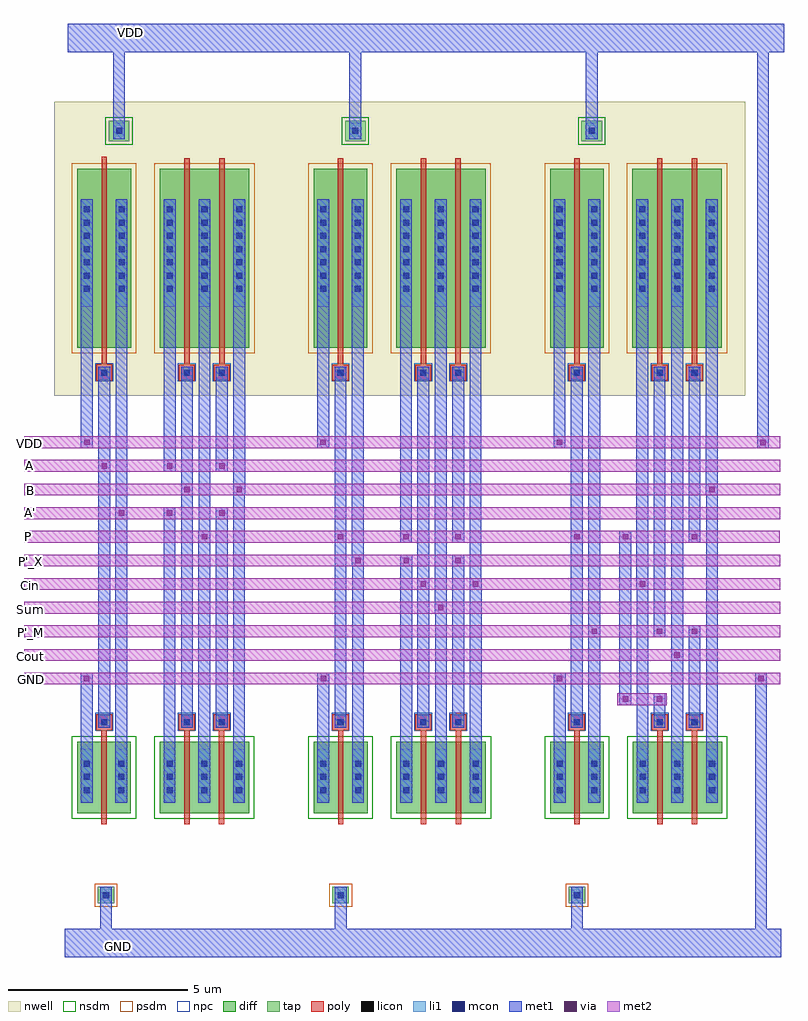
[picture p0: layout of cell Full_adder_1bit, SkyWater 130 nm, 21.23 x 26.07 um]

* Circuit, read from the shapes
.subckt Full_adder_1bit A A' B Cin Cout GND P P'_M P'_X Sum VDD
XM1 A' A GND GND sky130_fd_pr__nfet_01v8 w=2 l=0.15
XM2 P B A' GND sky130_fd_pr__nfet_01v8 w=2 l=0.15
XM3 B A' P GND sky130_fd_pr__nfet_01v8 w=2 l=0.15
XM4 P'_X P GND GND sky130_fd_pr__nfet_01v8 w=2 l=0.15
XM5 Sum Cin P'_X GND sky130_fd_pr__nfet_01v8 w=2 l=0.15
XM6 Cin P'_X Sum GND sky130_fd_pr__nfet_01v8 w=2 l=0.15
XM7 P'_M P GND GND sky130_fd_pr__nfet_01v8 w=2 l=0.15
XM8 Cout P Cin GND sky130_fd_pr__nfet_01v8 w=2 l=0.15
XM9 B P'_M Cout GND sky130_fd_pr__nfet_01v8 w=2 l=0.15
XM10 A' A VDD VDD sky130_fd_pr__pfet_01v8 w=5 l=0.15
XM11 P B A VDD sky130_fd_pr__pfet_01v8 w=5 l=0.15
XM12 B A P VDD sky130_fd_pr__pfet_01v8 w=5 l=0.15
XM13 P'_X P VDD VDD sky130_fd_pr__pfet_01v8 w=5 l=0.15
XM14 Sum Cin P VDD sky130_fd_pr__pfet_01v8 w=5 l=0.15
XM15 Cin P Sum VDD sky130_fd_pr__pfet_01v8 w=5 l=0.15
XM16 P'_M P VDD VDD sky130_fd_pr__pfet_01v8 w=5 l=0.15
XM17 Cout P'_M Cin VDD sky130_fd_pr__pfet_01v8 w=5 l=0.15
XM18 B P Cout VDD sky130_fd_pr__pfet_01v8 w=5 l=0.15
.ends

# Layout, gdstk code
import gdstk
lib = gdstk.Library(unit=1e-6, precision=5e-09)
def R(c, l, rs):  # rectangles x0, y0, x1, y1
    for r in rs: c.add(gdstk.rectangle(r[:2], r[2:], *l))
def A(c, l, x, y, w, h, nx, ny, dx, dy):  # array of equal rectangles
    R(c, l, [(x+i*dx, y+j*dy, x+i*dx+w, y+j*dy+h) for i in range(nx) for j in range(ny)])
nwell = (64, 20)
diff = (65, 20)
tap = (65, 44)
poly = (66, 20)
licon = (66, 44)
li1 = (67, 20)
mcon = (67, 44)
met1 = (68, 20)
via = (68, 44)
met2 = (69, 20)
nsdm = (93, 44)
psdm = (94, 20)
npc = (95, 20)

full_adder_1bit = lib.new_cell('Full_adder_1bit')
R(full_adder_1bit, nwell, [(10.58,-10.4,29.88,-2.185)])
A(full_adder_1bit, diff, 11.23, -9.06, 1.5, 5, 3, 1, 6.6, 0)
A(full_adder_1bit, diff, 13.53, -9.055, 2.5, 5, 3, 1, 6.6, 0)
R(full_adder_1bit, diff, [(11.225,-22.06,12.725,-20.06), (13.525,-22.06,16.025,-20.06), (17.835,-22.06,19.335,-20.06), (20.135,-22.06,22.635,-20.06), (24.435,-22.06,25.935,-20.06), (26.735,-22.06,29.235,-20.06)])
A(full_adder_1bit, tap, 12.105, -3.295, 0.58, 0.585, 3, 1, 6.6, 0)
R(full_adder_1bit, tap, [(11.8,-24.575,12.26,-24.115), (18.355,-24.575,18.815,-24.115), (24.955,-24.575,25.415,-24.115)])
R(full_adder_1bit, poly, [(11.9,-22.36,12.05,-19.285), (14.215,-22.36,14.365,-19.285), (15.185,-22.36,15.335,-19.285), (18.51,-22.36,18.66,-19.285), (20.825,-22.36,20.975,-19.285), (21.795,-22.36,21.945,-19.255), (25.11,-22.36,25.26,-19.285), (27.425,-22.36,27.575,-19.285), (28.395,-22.36,28.545,-19.285), (11.755,-19.74,12.205,-19.285), (14.065,-19.74,14.515,-19.285), (15.04,-19.74,15.49,-19.285), (18.355,-19.74,18.805,-19.285), (20.665,-19.74,21.115,-19.285), (21.64,-19.74,22.09,-19.285), (24.955,-19.74,25.405,-19.285), (27.265,-19.74,27.715,-19.285), (28.24,-19.74,28.69,-19.285), (14.065,-9.98,14.515,-9.525), (14.22,-9.98,14.37,-3.76), (15.04,-9.98,15.49,-9.525), (15.19,-9.98,15.34,-3.76), (18.355,-9.98,18.805,-9.525), (18.505,-9.98,18.655,-3.76), (20.665,-9.98,21.115,-9.525), (20.82,-9.98,20.97,-3.76), (21.64,-9.98,22.09,-9.525), (21.79,-9.98,21.94,-3.76), (24.955,-9.98,25.405,-9.525), (25.105,-9.98,25.255,-3.76), (27.265,-9.98,27.715,-9.525), (27.42,-9.98,27.57,-3.76), (28.24,-9.98,28.69,-9.525), (28.39,-9.98,28.54,-3.76), (11.755,-9.975,12.205,-9.52), (11.905,-9.935,12.055,-3.715)])
A(full_adder_1bit, licon, 11.405, -21.495, 0.17, 0.17, 1, 3, 0, 0.37)
A(full_adder_1bit, licon, 12.375, -21.495, 0.17, 0.17, 1, 3, 0, 0.37)
A(full_adder_1bit, licon, 13.72, -21.495, 0.17, 0.17, 3, 3, 0.97, 0.37)
A(full_adder_1bit, licon, 18.015, -21.495, 0.17, 0.17, 1, 3, 0, 0.37)
A(full_adder_1bit, licon, 18.985, -21.495, 0.17, 0.17, 1, 3, 0, 0.37)
A(full_adder_1bit, licon, 20.33, -21.495, 0.17, 0.17, 3, 3, 0.97, 0.37)
A(full_adder_1bit, licon, 24.615, -21.495, 0.17, 0.17, 1, 3, 0, 0.37)
A(full_adder_1bit, licon, 25.585, -21.495, 0.17, 0.17, 1, 3, 0, 0.37)
A(full_adder_1bit, licon, 26.93, -21.495, 0.17, 0.17, 3, 3, 0.97, 0.37)
A(full_adder_1bit, licon, 11.41, -6.015, 0.17, 0.17, 1, 3, 0, 0.37)
A(full_adder_1bit, licon, 18.01, -6.015, 0.17, 0.17, 1, 3, 0, 0.37)
A(full_adder_1bit, licon, 24.61, -6.015, 0.17, 0.17, 1, 3, 0, 0.37)
A(full_adder_1bit, licon, 13.725, -5.645, 0.17, 0.17, 3, 2, 0.97, 0.37)
A(full_adder_1bit, licon, 20.325, -5.645, 0.17, 0.17, 3, 2, 0.97, 0.37)
A(full_adder_1bit, licon, 26.925, -5.645, 0.17, 0.17, 3, 2, 0.97, 0.37)
A(full_adder_1bit, licon, 12.31, -3.085, 0.17, 0.17, 3, 1, 6.6, 0)
R(full_adder_1bit, licon, [(11.945,-24.43,12.115,-24.26), (18.5,-24.43,18.67,-24.26), (25.1,-24.43,25.27,-24.26), (11.895,-19.595,12.065,-19.425), (11.895,-19.595,12.065,-19.425), (11.895,-19.595,12.065,-19.425), (14.205,-19.595,14.375,-19.425), (14.205,-19.595,14.375,-19.425), (14.205,-19.595,14.375,-19.425), (15.18,-19.595,15.35,-19.425), (15.18,-19.595,15.35,-19.425), (15.18,-19.595,15.35,-19.425), (18.495,-19.595,18.665,-19.425), (18.495,-19.595,18.665,-19.425), (18.495,-19.595,18.665,-19.425), (20.805,-19.595,20.975,-19.425), (20.805,-19.595,20.975,-19.425), (20.805,-19.595,20.975,-19.425), (21.78,-19.595,21.95,-19.425), (21.78,-19.595,21.95,-19.425), (21.78,-19.595,21.95,-19.425), (25.095,-19.595,25.265,-19.425), (25.095,-19.595,25.265,-19.425), (25.095,-19.595,25.265,-19.425), (27.405,-19.595,27.575,-19.425), (27.405,-19.595,27.575,-19.425), (27.405,-19.595,27.575,-19.425), (28.38,-19.595,28.55,-19.425), (28.38,-19.595,28.55,-19.425), (28.38,-19.595,28.55,-19.425), (11.895,-9.835,12.065,-9.665), (14.205,-9.835,14.375,-9.665), (14.205,-9.835,14.375,-9.665), (14.205,-9.835,14.375,-9.665), (15.18,-9.835,15.35,-9.665), (15.18,-9.835,15.35,-9.665), (15.18,-9.835,15.35,-9.665), (18.495,-9.835,18.665,-9.665), (18.495,-9.835,18.665,-9.665), (18.495,-9.835,18.665,-9.665), (20.805,-9.835,20.975,-9.665), (20.805,-9.835,20.975,-9.665), (20.805,-9.835,20.975,-9.665), (21.78,-9.835,21.95,-9.665), (21.78,-9.835,21.95,-9.665), (21.78,-9.835,21.95,-9.665), (25.095,-9.835,25.265,-9.665), (25.095,-9.835,25.265,-9.665), (25.095,-9.835,25.265,-9.665), (27.405,-9.835,27.575,-9.665), (27.405,-9.835,27.575,-9.665), (27.405,-9.835,27.575,-9.665), (28.38,-9.835,28.55,-9.665), (28.38,-9.835,28.55,-9.665), (28.38,-9.835,28.55,-9.665), (11.41,-7.495,11.58,-7.325), (11.41,-7.495,11.58,-7.325), (11.41,-7.495,11.58,-7.325), (12.38,-7.495,12.55,-7.325), (13.725,-7.495,13.895,-7.325), (13.725,-7.495,13.895,-7.325), (13.725,-7.495,13.895,-7.325), (14.695,-7.495,14.865,-7.325), (14.695,-7.495,14.865,-7.325), (14.695,-7.495,14.865,-7.325), (15.665,-7.495,15.835,-7.325), (15.665,-7.495,15.835,-7.325), (15.665,-7.495,15.835,-7.325), (18.01,-7.495,18.18,-7.325), (18.01,-7.495,18.18,-7.325), (18.01,-7.495,18.18,-7.325), (18.98,-7.495,19.15,-7.325), (20.325,-7.495,20.495,-7.325), (20.325,-7.495,20.495,-7.325), (20.325,-7.495,20.495,-7.325), (21.295,-7.495,21.465,-7.325), (21.295,-7.495,21.465,-7.325), (21.295,-7.495,21.465,-7.325), (22.265,-7.495,22.435,-7.325), (22.265,-7.495,22.435,-7.325), (22.265,-7.495,22.435,-7.325), (24.61,-7.495,24.78,-7.325), (24.61,-7.495,24.78,-7.325), (24.61,-7.495,24.78,-7.325), (25.58,-7.495,25.75,-7.325), (26.925,-7.495,27.095,-7.325), (26.925,-7.495,27.095,-7.325), (26.925,-7.495,27.095,-7.325), (27.895,-7.495,28.065,-7.325), (27.895,-7.495,28.065,-7.325), (27.895,-7.495,28.065,-7.325), (28.865,-7.495,29.035,-7.325), (28.865,-7.495,29.035,-7.325), (28.865,-7.495,29.035,-7.325), (11.41,-7.125,11.58,-6.955), (11.41,-7.125,11.58,-6.955), (12.38,-7.125,12.55,-6.955), (12.38,-7.125,12.55,-6.955), (12.38,-7.125,12.55,-6.955), (13.725,-7.125,13.895,-6.955), (13.725,-7.125,13.895,-6.955), (14.695,-7.125,14.865,-6.955), (14.695,-7.125,14.865,-6.955), (15.665,-7.125,15.835,-6.955), (15.665,-7.125,15.835,-6.955), (18.01,-7.125,18.18,-6.955), (18.01,-7.125,18.18,-6.955), (18.98,-7.125,19.15,-6.955), (18.98,-7.125,19.15,-6.955), (18.98,-7.125,19.15,-6.955), (20.325,-7.125,20.495,-6.955), (20.325,-7.125,20.495,-6.955), (21.295,-7.125,21.465,-6.955), (21.295,-7.125,21.465,-6.955), (22.265,-7.125,22.435,-6.955), (22.265,-7.125,22.435,-6.955), (24.61,-7.125,24.78,-6.955), (24.61,-7.125,24.78,-6.955), (25.58,-7.125,25.75,-6.955), (25.58,-7.125,25.75,-6.955), (25.58,-7.125,25.75,-6.955), (26.925,-7.125,27.095,-6.955), (26.925,-7.125,27.095,-6.955), (27.895,-7.125,28.065,-6.955), (27.895,-7.125,28.065,-6.955), (28.865,-7.125,29.035,-6.955), (28.865,-7.125,29.035,-6.955), (11.41,-6.755,11.58,-6.585), (11.41,-6.755,11.58,-6.585), (12.38,-6.755,12.55,-6.585), (12.38,-6.755,12.55,-6.585), (12.38,-6.755,12.55,-6.585), (13.725,-6.755,13.895,-6.585), (13.725,-6.755,13.895,-6.585), (14.695,-6.755,14.865,-6.585), (14.695,-6.755,14.865,-6.585), (15.665,-6.755,15.835,-6.585), (15.665,-6.755,15.835,-6.585), (18.01,-6.755,18.18,-6.585), (18.01,-6.755,18.18,-6.585), (18.98,-6.755,19.15,-6.585), (18.98,-6.755,19.15,-6.585), (18.98,-6.755,19.15,-6.585), (20.325,-6.755,20.495,-6.585), (20.325,-6.755,20.495,-6.585), (21.295,-6.755,21.465,-6.585), (21.295,-6.755,21.465,-6.585), (22.265,-6.755,22.435,-6.585), (22.265,-6.755,22.435,-6.585), (24.61,-6.755,24.78,-6.585), (24.61,-6.755,24.78,-6.585), (25.58,-6.755,25.75,-6.585), (25.58,-6.755,25.75,-6.585), (25.58,-6.755,25.75,-6.585), (26.925,-6.755,27.095,-6.585), (26.925,-6.755,27.095,-6.585), (27.895,-6.755,28.065,-6.585), (27.895,-6.755,28.065,-6.585), (28.865,-6.755,29.035,-6.585), (28.865,-6.755,29.035,-6.585), (11.41,-6.385,11.58,-6.215), (11.41,-6.385,11.58,-6.215), (12.38,-6.385,12.55,-6.215), (12.38,-6.385,12.55,-6.215), (12.38,-6.385,12.55,-6.215), (13.725,-6.385,13.895,-6.215), (13.725,-6.385,13.895,-6.215), (14.695,-6.385,14.865,-6.215), (14.695,-6.385,14.865,-6.215), (15.665,-6.385,15.835,-6.215), (15.665,-6.385,15.835,-6.215), (18.01,-6.385,18.18,-6.215), (18.01,-6.385,18.18,-6.215), (18.98,-6.385,19.15,-6.215), (18.98,-6.385,19.15,-6.215), (18.98,-6.385,19.15,-6.215), (20.325,-6.385,20.495,-6.215), (20.325,-6.385,20.495,-6.215), (21.295,-6.385,21.465,-6.215), (21.295,-6.385,21.465,-6.215), (22.265,-6.385,22.435,-6.215), (22.265,-6.385,22.435,-6.215), (24.61,-6.385,24.78,-6.215), (24.61,-6.385,24.78,-6.215), (25.58,-6.385,25.75,-6.215), (25.58,-6.385,25.75,-6.215), (25.58,-6.385,25.75,-6.215), (26.925,-6.385,27.095,-6.215), (26.925,-6.385,27.095,-6.215), (27.895,-6.385,28.065,-6.215), (27.895,-6.385,28.065,-6.215), (28.865,-6.385,29.035,-6.215), (28.865,-6.385,29.035,-6.215), (11.41,-6.015,11.58,-5.845), (12.38,-6.015,12.55,-5.845), (12.38,-6.015,12.55,-5.845), (12.38,-6.015,12.55,-5.845), (13.725,-6.015,13.895,-5.845), (13.725,-6.015,13.895,-5.845), (14.695,-6.015,14.865,-5.845), (14.695,-6.015,14.865,-5.845), (15.665,-6.015,15.835,-5.845), (15.665,-6.015,15.835,-5.845), (18.01,-6.015,18.18,-5.845), (18.98,-6.015,19.15,-5.845), (18.98,-6.015,19.15,-5.845), (18.98,-6.015,19.15,-5.845), (20.325,-6.015,20.495,-5.845), (20.325,-6.015,20.495,-5.845), (21.295,-6.015,21.465,-5.845), (21.295,-6.015,21.465,-5.845), (22.265,-6.015,22.435,-5.845), (22.265,-6.015,22.435,-5.845), (24.61,-6.015,24.78,-5.845), (25.58,-6.015,25.75,-5.845), (25.58,-6.015,25.75,-5.845), (25.58,-6.015,25.75,-5.845), (26.925,-6.015,27.095,-5.845), (26.925,-6.015,27.095,-5.845), (27.895,-6.015,28.065,-5.845), (27.895,-6.015,28.065,-5.845), (28.865,-6.015,29.035,-5.845), (28.865,-6.015,29.035,-5.845), (12.38,-5.645,12.55,-5.475), (12.38,-5.645,12.55,-5.475), (18.98,-5.645,19.15,-5.475), (18.98,-5.645,19.15,-5.475), (25.58,-5.645,25.75,-5.475), (25.58,-5.645,25.75,-5.475), (12.38,-5.275,12.55,-5.105), (12.38,-5.275,12.55,-5.105), (18.98,-5.275,19.15,-5.105), (18.98,-5.275,19.15,-5.105), (25.58,-5.275,25.75,-5.105), (25.58,-5.275,25.75,-5.105)])
A(full_adder_1bit, li1, 13.64, -21.76, 0.33, 1.5, 3, 1, 0.97, 0)
A(full_adder_1bit, li1, 20.25, -21.76, 0.33, 1.5, 3, 1, 0.97, 0)
A(full_adder_1bit, li1, 26.85, -21.76, 0.33, 1.5, 3, 1, 0.97, 0)
A(full_adder_1bit, li1, 13.645, -7.905, 0.33, 3, 3, 1, 0.97, 0)
A(full_adder_1bit, li1, 20.245, -7.905, 0.33, 3, 3, 1, 0.97, 0)
A(full_adder_1bit, li1, 26.845, -7.905, 0.33, 3, 3, 1, 0.97, 0)
A(full_adder_1bit, li1, 12.23, -3.23, 0.33, 0.46, 3, 1, 6.6, 0)
R(full_adder_1bit, li1, [(11.865,-24.575,12.195,-24.115), (11.865,-24.575,12.195,-24.115), (18.42,-24.575,18.75,-24.115), (18.42,-24.575,18.75,-24.115), (25.02,-24.575,25.35,-24.115), (25.02,-24.575,25.35,-24.115), (11.325,-21.76,11.655,-20.26), (12.295,-21.76,12.625,-20.26), (17.935,-21.76,18.265,-20.26), (18.905,-21.76,19.235,-20.26), (24.535,-21.76,24.865,-20.26), (25.505,-21.76,25.835,-20.26), (11.815,-19.675,12.145,-19.3), (14.125,-19.675,14.455,-19.3), (15.1,-19.675,15.43,-19.3), (18.415,-19.675,18.745,-19.3), (20.725,-19.675,21.055,-19.3), (21.7,-19.675,22.03,-19.3), (25.015,-19.675,25.345,-19.3), (27.325,-19.675,27.655,-19.3), (28.3,-19.675,28.63,-19.3), (11.815,-9.96,12.145,-9.585), (14.125,-9.96,14.455,-9.585), (15.1,-9.96,15.43,-9.585), (18.415,-9.96,18.745,-9.585), (20.725,-9.96,21.055,-9.585), (21.7,-9.96,22.03,-9.585), (25.015,-9.96,25.345,-9.585), (27.325,-9.96,27.655,-9.585), (28.3,-9.96,28.63,-9.585), (11.33,-7.905,11.66,-4.905), (12.3,-7.905,12.63,-4.905), (17.93,-7.905,18.26,-4.905), (18.9,-7.905,19.23,-4.905), (24.53,-7.905,24.86,-4.905), (25.5,-7.905,25.83,-4.905)])
A(full_adder_1bit, mcon, 11.405, -21.495, 0.17, 0.17, 1, 3, 0, 0.37)
A(full_adder_1bit, mcon, 12.375, -21.495, 0.17, 0.17, 1, 3, 0, 0.37)
A(full_adder_1bit, mcon, 13.72, -21.495, 0.17, 0.17, 3, 3, 0.97, 0.37)
A(full_adder_1bit, mcon, 18.015, -21.495, 0.17, 0.17, 1, 3, 0, 0.37)
A(full_adder_1bit, mcon, 18.985, -21.495, 0.17, 0.17, 1, 3, 0, 0.37)
A(full_adder_1bit, mcon, 20.33, -21.495, 0.17, 0.17, 3, 3, 0.97, 0.37)
A(full_adder_1bit, mcon, 24.615, -21.495, 0.17, 0.17, 1, 3, 0, 0.37)
A(full_adder_1bit, mcon, 25.585, -21.495, 0.17, 0.17, 1, 3, 0, 0.37)
A(full_adder_1bit, mcon, 26.93, -21.495, 0.17, 0.17, 3, 3, 0.97, 0.37)
A(full_adder_1bit, mcon, 11.41, -7.495, 0.17, 0.17, 1, 7, 0, 0.37)
A(full_adder_1bit, mcon, 12.38, -7.495, 0.17, 0.17, 1, 7, 0, 0.37)
A(full_adder_1bit, mcon, 13.725, -7.495, 0.17, 0.17, 3, 7, 0.97, 0.37)
A(full_adder_1bit, mcon, 18.01, -7.495, 0.17, 0.17, 1, 7, 0, 0.37)
A(full_adder_1bit, mcon, 18.98, -7.495, 0.17, 0.17, 1, 7, 0, 0.37)
A(full_adder_1bit, mcon, 20.325, -7.495, 0.17, 0.17, 3, 7, 0.97, 0.37)
A(full_adder_1bit, mcon, 24.61, -7.495, 0.17, 0.17, 1, 7, 0, 0.37)
A(full_adder_1bit, mcon, 25.58, -7.495, 0.17, 0.17, 1, 7, 0, 0.37)
A(full_adder_1bit, mcon, 26.925, -7.495, 0.17, 0.17, 3, 7, 0.97, 0.37)
A(full_adder_1bit, mcon, 12.31, -3.085, 0.17, 0.17, 3, 1, 6.6, 0)
R(full_adder_1bit, mcon, [(11.945,-24.43,12.115,-24.26), (18.5,-24.43,18.67,-24.26), (25.1,-24.43,25.27,-24.26), (11.895,-19.595,12.065,-19.425), (14.205,-19.595,14.375,-19.425), (15.18,-19.595,15.35,-19.425), (18.495,-19.595,18.665,-19.425), (20.805,-19.595,20.975,-19.425), (21.78,-19.595,21.95,-19.425), (25.095,-19.595,25.265,-19.425), (27.405,-19.595,27.575,-19.425), (28.38,-19.595,28.55,-19.425), (11.895,-9.835,12.065,-9.665), (14.205,-9.835,14.375,-9.665), (15.18,-9.835,15.35,-9.665), (18.495,-9.835,18.665,-9.665), (20.805,-9.835,20.975,-9.665), (21.78,-9.835,21.95,-9.665), (25.095,-9.835,25.265,-9.665), (27.405,-9.835,27.575,-9.665), (28.38,-9.835,28.55,-9.665)])
A(full_adder_1bit, met1, 11.33, -11.86, 0.33, 6.955, 3, 1, 6.6, 0)
A(full_adder_1bit, met1, 12.23, -3.23, 0.33, 3.22, 3, 1, 6.6, 0)
R(full_adder_1bit, met1, [(10.88,-26.075,30.89,-25.275), (11.865,-26.075,12.195,-24.115), (18.42,-26.075,18.75,-24.115), (25.02,-26.075,25.35,-24.115), (30.16,-26.075,30.49,-18.13), (11.325,-21.76,11.655,-18.13), (12.295,-21.76,12.625,-13.51), (13.64,-21.76,13.97,-13.51), (14.61,-21.76,14.94,-14.17), (15.58,-21.76,15.91,-12.85), (17.935,-21.76,18.265,-18.13), (18.905,-21.76,19.235,-14.83), (20.25,-21.76,20.58,-14.83), (21.22,-21.76,21.55,-16.15), (22.19,-21.76,22.52,-15.49), (24.535,-21.76,24.865,-18.13), (25.505,-21.76,25.835,-16.81), (26.85,-21.76,27.18,-15.49), (27.82,-21.76,28.15,-17.47), (28.79,-21.76,29.12,-12.85), (11.815,-19.675,12.145,-12.195), (14.125,-19.675,14.455,-12.85), (15.1,-19.675,15.43,-13.51), (18.415,-19.675,18.745,-14.17), (20.725,-19.675,21.055,-15.49), (21.7,-19.675,22.03,-14.83), (25.015,-19.675,25.345,-14.17), (27.325,-19.675,27.655,-18.705), (28.3,-19.675,28.63,-16.81), (26.37,-19.035,26.7,-14.17), (27.815,-17.8,28.145,-4.905), (25.5,-17.14,25.83,-4.905), (27.325,-17.14,27.655,-9.585), (21.215,-16.48,21.545,-4.905), (20.725,-15.82,21.055,-9.585), (22.185,-15.82,22.515,-4.905), (26.845,-15.82,27.175,-4.905), (18.9,-15.16,19.23,-4.905), (14.615,-14.5,14.945,-4.905), (18.415,-14.5,18.745,-9.585), (20.245,-14.5,20.575,-4.905), (21.7,-14.5,22.03,-9.585), (25.015,-14.5,25.345,-9.585), (28.3,-14.5,28.63,-9.585), (12.3,-13.84,12.63,-4.905), (14.125,-13.18,14.455,-9.585), (15.585,-13.18,15.915,-4.905), (28.785,-13.18,29.115,-4.905), (11.815,-12.52,12.145,-9.585), (13.645,-12.52,13.975,-4.905), (15.1,-12.52,15.43,-9.585), (30.215,-11.86,30.545,-0.01), (10.965,-0.81,30.965,-0.01)])
A(full_adder_1bit, via, 11.42, -11.77, 0.15, 0.15, 3, 1, 6.6, 0)
R(full_adder_1bit, via, [(26.46,-18.945,26.61,-18.795), (27.415,-18.945,27.565,-18.795), (11.415,-18.37,11.565,-18.22), (18.025,-18.37,18.175,-18.22), (24.625,-18.37,24.775,-18.22), (30.25,-18.37,30.4,-18.22), (27.905,-17.71,28.055,-17.56), (25.59,-17.05,25.74,-16.9), (27.415,-17.05,27.565,-16.9), (28.39,-17.05,28.54,-16.9), (21.305,-16.39,21.455,-16.24), (20.815,-15.73,20.965,-15.58), (22.275,-15.73,22.425,-15.58), (26.935,-15.73,27.085,-15.58), (18.99,-15.07,19.14,-14.92), (20.34,-15.07,20.49,-14.92), (21.79,-15.07,21.94,-14.92), (14.705,-14.41,14.855,-14.26), (18.505,-14.41,18.655,-14.26), (20.335,-14.41,20.485,-14.26), (21.79,-14.41,21.94,-14.26), (25.105,-14.41,25.255,-14.26), (26.46,-14.41,26.61,-14.26), (28.39,-14.41,28.54,-14.26), (12.39,-13.75,12.54,-13.6), (13.73,-13.75,13.88,-13.6), (15.19,-13.75,15.34,-13.6), (14.215,-13.09,14.365,-12.94), (15.675,-13.09,15.825,-12.94), (28.875,-13.09,29.025,-12.94), (11.905,-12.43,12.055,-12.28), (13.735,-12.43,13.885,-12.28), (15.19,-12.43,15.34,-12.28), (30.3,-11.775,30.45,-11.625)])
A(full_adder_1bit, met2, 9.74, -18.46, 21.125, 0.33, 1, 4, 0, 0.66)
A(full_adder_1bit, met2, 9.74, -13.84, 21.125, 0.33, 1, 4, 0, 0.66)
R(full_adder_1bit, met2, [(26.305,-19.035,27.695,-18.705), (9.74,-15.82,30.86,-15.49), (9.74,-15.16,30.855,-14.83), (9.74,-14.5,30.85,-14.17)])
A(full_adder_1bit, nsdm, 12.015, -3.385, 0.76, 0.765, 3, 1, 6.6, 0)
R(full_adder_1bit, nsdm, [(11.075,-22.21,12.875,-19.91), (13.375,-22.21,16.175,-19.91), (17.685,-22.21,19.485,-19.91), (19.985,-22.21,22.785,-19.91), (24.285,-22.21,26.085,-19.91), (26.585,-22.21,29.385,-19.91)])
A(full_adder_1bit, psdm, 11.08, -9.21, 1.8, 5.3, 3, 1, 6.6, 0)
A(full_adder_1bit, psdm, 13.38, -9.205, 2.8, 5.3, 3, 1, 6.6, 0)
R(full_adder_1bit, psdm, [(11.71,-24.665,12.35,-24.025), (18.265,-24.665,18.905,-24.025), (24.865,-24.665,25.505,-24.025)])
R(full_adder_1bit, npc, [(11.73,-19.755,12.23,-19.255), (14.04,-19.755,14.54,-19.255), (15.015,-19.755,15.515,-19.255), (18.33,-19.755,18.83,-19.255), (20.64,-19.755,21.14,-19.255), (21.615,-19.755,22.115,-19.255), (24.93,-19.755,25.43,-19.255), (27.24,-19.755,27.74,-19.255), (28.215,-19.755,28.715,-19.255), (11.73,-9.995,12.23,-9.495), (14.04,-9.995,14.54,-9.495), (15.015,-9.995,15.515,-9.495), (18.33,-9.995,18.83,-9.495), (20.64,-9.995,21.14,-9.495), (21.615,-9.995,22.115,-9.495), (24.93,-9.995,25.43,-9.495), (27.24,-9.995,27.74,-9.495), (28.215,-9.995,28.715,-9.495)])
full_adder_1bit.add(gdstk.Label('GND', (12.385,-25.78), layer=68, texttype=16))
full_adder_1bit.add(gdstk.Label('VDD', (12.71,-0.265), layer=68, texttype=16))
full_adder_1bit.add(gdstk.Label('GND', (9.95,-18.32), layer=69, texttype=16))
full_adder_1bit.add(gdstk.Label('VDD', (9.885,-11.735), layer=69, texttype=16))
full_adder_1bit.add(gdstk.Label('A', (9.895,-12.35), layer=69, texttype=16))
full_adder_1bit.add(gdstk.Label('B', (9.935,-13.045), layer=69, texttype=16))
full_adder_1bit.add(gdstk.Label("A'", (9.91,-13.665), layer=69, texttype=16))
full_adder_1bit.add(gdstk.Label("P'_X", (9.925,-15.03), layer=69, texttype=16))
full_adder_1bit.add(gdstk.Label("P'_M", (9.93,-16.995), layer=69, texttype=16))
full_adder_1bit.add(gdstk.Label('Cin', (9.925,-15.685), layer=69, texttype=16))
full_adder_1bit.add(gdstk.Label('Sum', (9.93,-16.36), layer=69, texttype=16))
full_adder_1bit.add(gdstk.Label('Cout', (9.935,-17.665), layer=69, texttype=16))
full_adder_1bit.add(gdstk.Label('P', (9.875,-14.335), layer=69, texttype=16))

lib.write_gds('Full_adder_1bit.gds')
